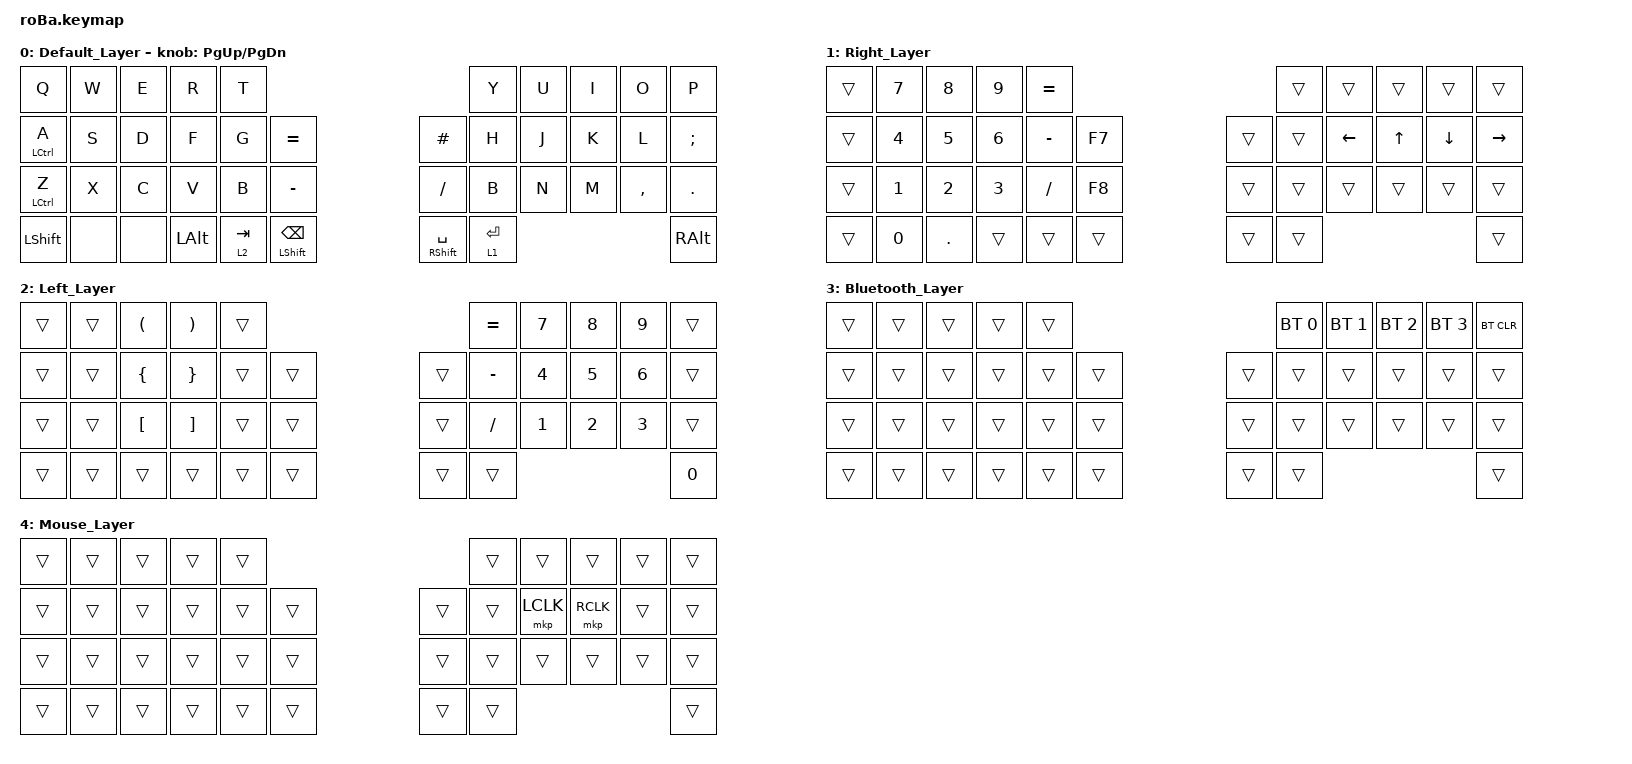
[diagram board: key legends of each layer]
#include <behaviors.dtsi>
#include <dt-bindings/zmk/bt.h>
#include <dt-bindings/zmk/keys.h>
#include <dt-bindings/zmk/pointing.h>

&mt {
    flavor = "balanced";
    quick-tap-ms = <0>;
};

&trackball {
    automouse-layer = <4>;
    scroll-layers = <5>;

    // arrows {
    //     layers = <3>;
    //     bindings =
    //         <&kp RIGHT_ARROW>,
    //         <&kp LEFT_ARROW>,
    //         <&kp UP_ARROW>,
    //         <&kp DOWN_ARROW>;
    //     tick = <10>;
    //     wait-ms = <5>;
    //     tap-ms = <5>;
    // };
};

/ {
    combos {
        compatible = "zmk,combos";

        muhennkann {
            bindings = <&kp INT_MUHENKAN>;
            key-positions = <13 12>;
        };

        nihongo {
            bindings = <&kp INT_HENKAN>;
            key-positions = <18 19>;
        };

        Bluetooth {
            bindings = <&tog 3>;
            key-positions = <34 42>;
        };

        Esc {
            bindings = <&kp ESCAPE>;
            key-positions = <0 1>;
        };
    };

    keymap {
        compatible = "zmk,keymap";

        Default_Layer {
            bindings = <
&kp Q           &kp W  &kp E  &kp R         &kp T                                                           &kp Y        &kp U  &kp I  &kp O      &kp P
&mt LCTRL A     &kp S  &kp D  &kp F         &kp G      &kp EQUAL                     &kp HASH               &kp H        &kp J  &kp K  &kp L      &kp SEMICOLON
&mt LCTRL Z     &kp X  &kp C  &kp V         &kp B      &kp MINUS                     &kp SLASH              &kp B        &kp N  &kp M  &kp COMMA  &kp PERIOD
&kp LEFT_SHIFT  &none  &none  &kp LEFT_ALT  &lt 2 TAB  &mt LEFT_SHIFT BACKSPACE      &mt RIGHT_SHIFT SPACE  &lt 1 ENTER                           &kp RIGHT_ALT
            >;

            sensor-bindings = <&inc_dec_kp PG_UP PAGE_DOWN>;
        };

        Right_Layer {
            bindings = <
&trans  &kp NUMBER_7  &kp NUMBER_8  &kp NUMBER_9  &kp EQUAL                      &trans  &trans          &trans        &trans          &trans
&trans  &kp NUMBER_4  &kp NUMBER_5  &kp NUMBER_6  &kp MINUS  &kp F7      &trans  &trans  &kp LEFT_ARROW  &kp UP_ARROW  &kp DOWN_ARROW  &kp RIGHT
&trans  &kp NUMBER_1  &kp NUMBER_2  &kp NUMBER_3  &kp SLASH  &kp F8      &trans  &trans  &trans          &trans        &trans          &trans
&trans  &kp NUMBER_0  &kp DOT       &trans        &trans     &trans      &trans  &trans                                                &trans
            >;
        };

        Left_Layer {
            bindings = <
&trans  &trans  &kp LEFT_PARENTHESIS  &kp RIGHT_PARENTHESIS  &trans                      &kp EQUAL  &kp N7  &kp N8  &kp N9  &trans
&trans  &trans  &kp LEFT_BRACE        &kp RIGHT_BRACE        &trans  &trans      &trans  &kp MINUS  &kp N4  &kp N5  &kp N6  &trans
&trans  &trans  &kp LEFT_BRACKET      &kp RIGHT_BRACKET      &trans  &trans      &trans  &kp SLASH  &kp N1  &kp N2  &kp N3  &trans
&trans  &trans  &trans                &trans                 &trans  &trans      &trans  &trans                             &kp NUMBER_0
            >;
        };

        Bluetooth_Layer {
            bindings = <
&trans  &trans  &trans  &trans  &trans                      &bt BT_SEL 0  &bt BT_SEL 1  &bt BT_SEL 2  &bt BT_SEL 3  &bt BT_CLR
&trans  &trans  &trans  &trans  &trans  &trans      &trans  &trans        &trans        &trans        &trans        &trans
&trans  &trans  &trans  &trans  &trans  &trans      &trans  &trans        &trans        &trans        &trans        &trans
&trans  &trans  &trans  &trans  &trans  &trans      &trans  &trans                                                  &trans
            >;
        };

        Mouse_Layer {
            bindings = <
&trans  &trans  &trans  &trans  &trans                      &trans  &trans     &trans     &trans  &trans
&trans  &trans  &trans  &trans  &trans  &trans      &trans  &trans  &mkp LCLK  &mkp RCLK  &trans  &trans
&trans  &trans  &trans  &trans  &trans  &trans      &trans  &trans  &trans     &trans     &trans  &trans
&trans  &trans  &trans  &trans  &trans  &trans      &trans  &trans                                &trans
            >;
        };
    };
};
